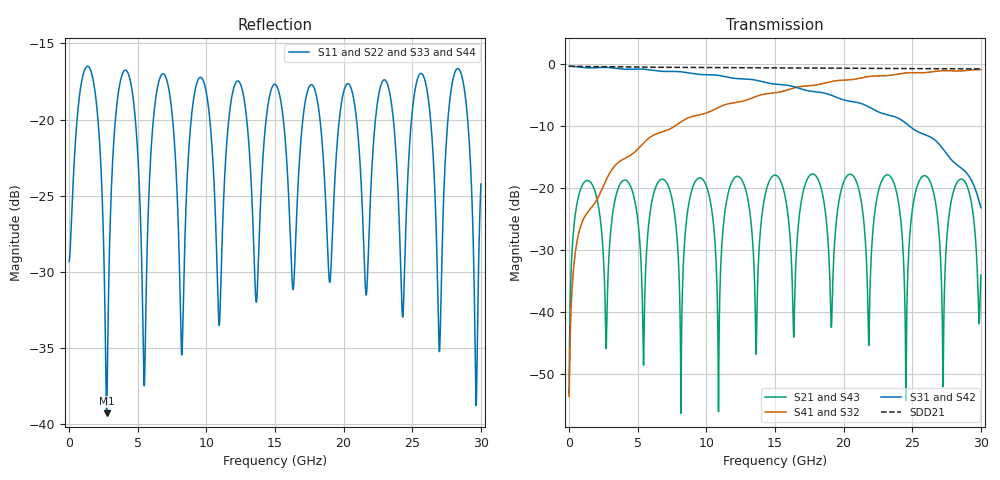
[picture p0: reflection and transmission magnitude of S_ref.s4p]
!diffpair-meanders S_ref (straight pair, reference for the serpentine experiment), mesh coarse
!ports 1 P_near 2 N_near 3 P_far 4 N_far; openEMS FDTD, lumped 50 ohm ports
# Hz S RI R 50.0
! Port[1] = P_near
! Port[2] = N_near
! Port[3] = P_far
! Port[4] = N_far
!freq ReS11 ImS11 ReS12 ImS12 ReS13 ImS13
! ReS14 ImS14
! ReS21 ImS21 ReS22 ImS22 ReS23 ImS23
! ReS24 ImS24
! ReS31 ImS31 ReS32 ImS32 ReS33 ImS33
! ReS34 ImS34
! ReS41 ImS41 ReS42 ImS42 ReS43 ImS43
! ReS44 ImS44
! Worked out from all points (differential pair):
!   3000 points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, 10 MHz to 30 GHz, reference 50 ohm
!   strongest paths, dB at 10 MHz, 7.51 GHz, 15.01 GHz, 22.51 GHz, 30 GHz:
!     S31: -0.4, -1.3, -3.3, -7.7, -23.2
!     S42: -0.4, -1.3, -3.3, -7.8, -23.6
!     S41: -53.6, -10.3, -4.7, -2.0, -1.0
!     S32: -53.6, -10.3, -4.7, -2.0, -1.0
!     S21: -53.2, -21.8, -17.9, -20.8, -34.0
!     S43: -53.2, -21.8, -17.9, -20.8, -34.0
!   taken as a pair (ports 1,2 in; 3,4 out), SDD21 dB: -0.4, -0.6, -0.7, -0.8, -0.9
!   lowest |S11| = -39.3 dB at 2.74 GHz (marker M1), VSWR 1.02, Z = 51.1 + j0.0764 ohm
!   |S11| at or under -10 dB: start of sweep to end of sweep
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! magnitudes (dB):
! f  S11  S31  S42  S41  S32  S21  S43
! 10 MHz  -29.3  -0.4  -0.4  -53.6  -53.6  -53.2  -53.2
! 1.1 GHz  -16.8  -0.6  -0.6  -24.8  -24.8  -19.1  -19.1
! 2.74 GHz  -39.3  -0.6  -0.6  -18.6  -18.6  -43.5  -43.5
! 4.05 GHz  -16.8  -0.9  -0.9  -15.3  -15.3  -18.7  -18.7
! 5.43 GHz  -35.9  -0.9  -0.9  -12.8  -12.8  -48.5  -48.5
! 6.78 GHz  -17.0  -1.2  -1.3  -11.0  -11.0  -18.6  -18.6
! 30 GHz  -24.2  -23.2  -23.6  -1.0  -1.0  -34.0  -34.0
